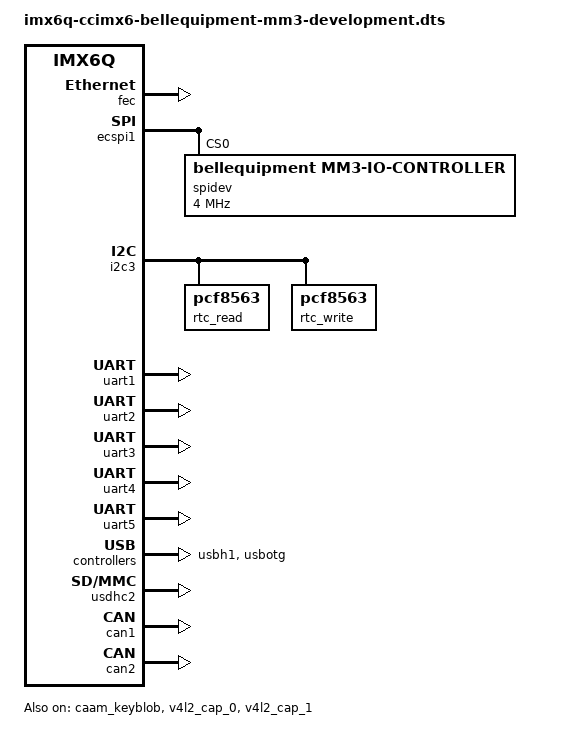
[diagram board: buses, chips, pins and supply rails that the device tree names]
/*
 * Copyright 2016 Digi International, Inc.
 *
 * The code contained herein is licensed under the GNU General Public
 * License. You may obtain a copy of the GNU General Public License
 * Version 2 or later at the following locations:
 *
 * http://www.opensource.org/licenses/gpl-license.html
 * http://www.gnu.org/copyleft/gpl.html
 */

/dts-v1/;
#include <dt-bindings/gpio/gpio.h>
/* i.MX6 Quad/Dual CPU */
#include "imx6q.dtsi"
/* ConnectCore 6 (Quad wireless/bluetooth variant) */
#include "imx6q-ccimx6-wb.dtsi"
/* ConnectCore 6 Bell Equipment MM3 Development Board */
#include "imx6q-ccimx6-bellequipment-mm3-development.dtsi"

&fec {
	status = "okay";
};

&caam_keyblob {
	status = "okay";
};

&ecspi1 {
	status = "okay";

	/*
	 * Add your slave devices here. Next is an example of spidev.
	 * Expect a harmless kernel warning if you enable spidev as slave.
	 */
	spidev@0 {
		reg = <0>; /*chipselect*/
		#address-cells = <1>;
		#size-cells = <1>;
		compatible = "bellequipment,mm3-io-controller";
		spi-max-frequency = <4000000>;
	};
};

&i2c3 {
	status = "okay";

	rtc_read: pcf8563@0xa3 {
		status = "okay";
	};

	rtc_write: pcf8563@0xa2 {
		status = "okay";
	};
};

&uart1 {
	status = "okay";
};

&uart2 {
	status = "okay";
};

&uart3 {
	status = "okay";
};

&uart4 {
	status = "okay";
};

&uart5 {
	status = "okay";
};

&usbh1 {
	status = "okay";
};

&usbotg {
	status = "okay";
};

&usdhc2 {
	status = "okay";
};

&can1 {
	status = "okay";
};

&can2 {
	status = "okay";
};

&v4l2_cap_0 {
	status = "okay";
};

&v4l2_cap_1 {
	ipu_id = <1>;
	csi_id = <1>;
	status = "okay";
};

&v4l2_out {
	status = "okay";
};

